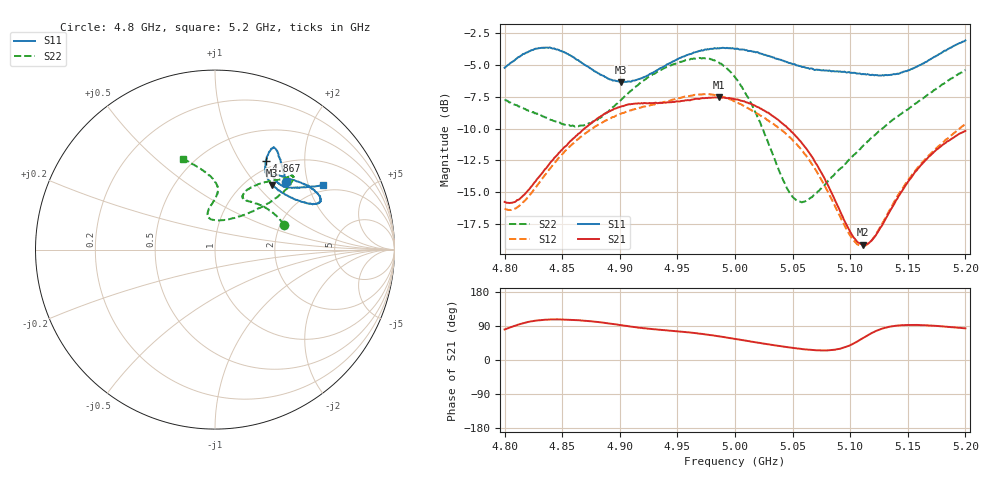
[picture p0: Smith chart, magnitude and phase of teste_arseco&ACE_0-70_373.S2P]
! Network Analyzer HP8722D
! Hewlett-Packard
! Data name: Linha & Wilkinson
! Saver's name: Rodrigo Anjos
! Comments: Teste da utilização de aquisição
! continua pelo VNA HP8722D
! Time and date: 8/5/2025 15:52
!  Frequency  S11  S21  S12  S22
# HZ  S  MA R 50
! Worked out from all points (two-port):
!   401 points, 4.8 GHz to 5.2 GHz, reference 50 ohm
!   highest |S21| = -7.55 dB at 4.986 GHz (marker M1); lowest = -19.1 dB at 5.111 GHz (marker M2)
!   |S21| within 3 dB of the highest: 4.862 GHz to 5.052 GHz (189.8 MHz wide, 3.83 % of centre); 5.192456 GHz to end of sweep
!   lowest |S11| = -6.3 dB at 4.901 GHz (marker M3), VSWR 2.86, Z = 64.7 + j60.7 ohm
!   |S11| at or under -10 dB: nowhere
!   |S22| runs from -15.8 to -4.5 dB; largest |S21 - S12| = 0.17
!   S11 on the Smith chart (normalised r, x): 4.8 GHz: 1.38, +1.49; 4.867 GHz: 0.89, +1.31; 5.2 GHz: 1.75, +2.49
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4.8e9  0.5471 43.7  0.1631 80.5  0.1535 45.2  0.4077 19.9
4.813e9  0.6048 52.7  0.1673 94.5  0.1578 59.2  0.3854 31.0
4.832e9  0.6557 59.1  0.2099 105.7  0.1997 71.3  0.3558 44.3
4.847e9  0.643 60.9  0.2536 107.1  0.2427 73.9  0.3325 52.8
4.867e9  0.5715 60.2  0.3099 104.1  0.2949 73.4  0.3252 61.0
4.883e9  0.5141 56.9  0.3518 99.3  0.3302 71.8  0.3484 63.0
4.901e9  0.4816 48.5  0.3858 92.0  0.3616 69.9  0.4091 58.9
4.934e9  0.5415 30.2  0.3986 79.9  0.3987 65.8  0.5316 47.3
4.965e9  0.6291 24.1  0.413 70.9  0.4287 58.7  0.5941 43.9
4.986e9  0.6518 26.1  0.4194 62.6  0.4255 50.3  0.574 41.4
5e9  0.6494 29.0  0.4121 55.7  0.4046 44.5  0.5023 40.2
5.017e9  0.6323 33.7  0.3896 47.2  0.3671 39.3  0.3719 41.6
5.048e9  0.571 44.0  0.3111 32.9  0.2914 32.0  0.1749 70.6
5.057e9  0.5556 47.5  0.2817 29.3  0.2629 30.1  0.1632 86.0
5.067e9  0.543 50.4  0.2447 26.5  0.2288 29.2  0.1703 97.9
5.082e9  0.5341 53.1  0.184 25.7  0.1734 31.6  0.1993 102.3
5.1e9  0.5233 52.7  0.1245 38.9  0.1203 48.5  0.241 96.1
5.111e9  0.5178 50.6  0.1109 57.7  0.1094 68.4  0.2701 91.6
5.12e9  0.5132 48.4  0.1173 73.0  0.1175 84.6  0.2961 88.9
5.134e9  0.5127 44.7  0.1485 87.8  0.1507 100.0  0.3338 87.0
5.166e9  0.5774 36.7  0.2392 91.7  0.2419 108.2  0.4245 95.9
5.2e9  0.7006 31.1  0.3096 83.6  0.3301 108.3  0.5358 109.6
